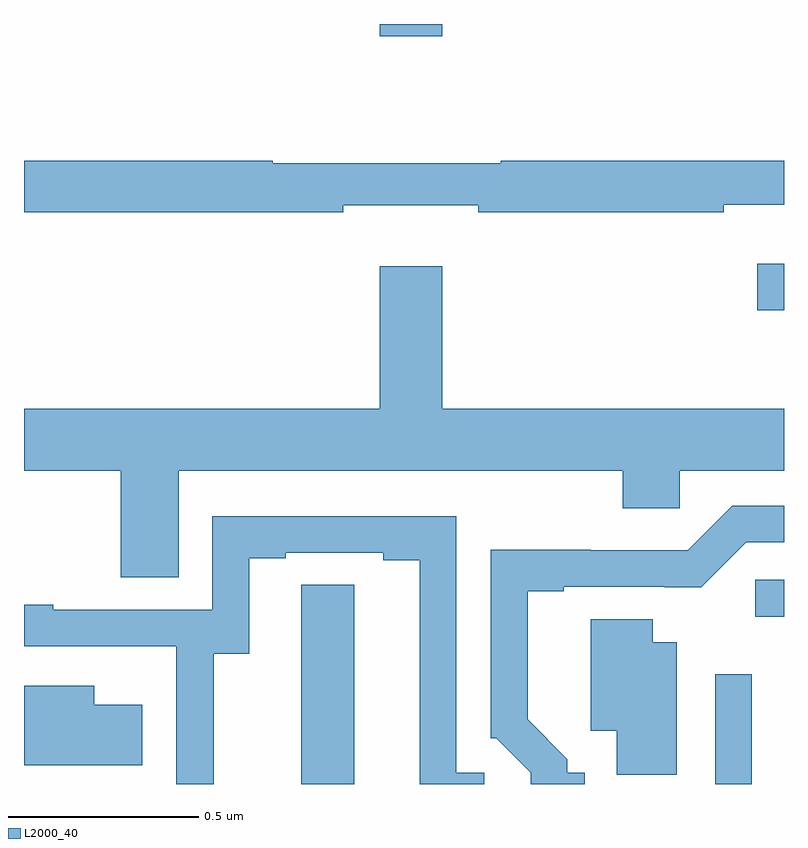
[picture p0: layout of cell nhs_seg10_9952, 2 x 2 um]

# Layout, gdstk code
import gdstk
lib = gdstk.Library(unit=1e-6, precision=1e-09)
def R(c, l, rs):  # rectangles x0, y0, x1, y1
    for r in rs: c.add(gdstk.rectangle(r[:2], r[2:], *l))
def P(c, l, *ps):  # polygons
    for p in ps: c.add(gdstk.Polygon(p, *l))
L2000_40 = (2000, 40)

nhs_seg10_9952 = lib.new_cell('nhs_seg10_9952')
R(nhs_seg10_9952, L2000_40, [(237.819,1291.5,237.915,1291.789), (237.924,1291.94,238,1292.037), (237.93,1292.747,238,1292.869), (236.936,1293.468,237.1,1293.5)])
P(nhs_seg10_9952, L2000_40, [(236.84,1293.023),(237.196,1293.023),(237.196,1293.004),(237.842,1293.004),(237.842,1293.024),(238,1293.024),(238,1293.14),(237.254,1293.14),(237.254,1293.133),(236.654,1293.133),(236.654,1293.14),(236,1293.14),(236,1293.004),(236.84,1293.004)],
  [(236.407,1292.324),(237.575,1292.324),(237.575,1292.226),(237.726,1292.226),(237.726,1292.324),(238,1292.324),(238,1292.488),(237.1,1292.488),(237.1,1292.863),(236.936,1292.863),(236.936,1292.488),(236,1292.488),(236,1292.324),(236.255,1292.324),(236.255,1292.044),(236.407,1292.044)],
  [(237.475,1291.53),(237.43,1291.53),(237.43,1291.565),(237.325,1291.67),(237.325,1292.007),(237.421,1292.007),(237.421,1292.019),(237.686,1292.019),(237.686,1292.018),(237.782,1292.018),(237.9,1292.136),(238,1292.136),(238,1292.232),(237.864,1292.232),(237.747,1292.115),(237.491,1292.115),(237.491,1292.117),(237.228,1292.117),(237.228,1291.62),(237.243,1291.62),(237.333,1291.53),(237.333,1291.5),(237.475,1291.5)],
  [(236.499,1291.843),(236.593,1291.843),(236.593,1292.094),(236.689,1292.094),(236.689,1292.109),(236.945,1292.109),(236.945,1292.089),(237.041,1292.089),(237.041,1291.5),(237.211,1291.5),(237.211,1291.53),(237.138,1291.53),(237.138,1292.205),(236.496,1292.205),(236.496,1291.959),(236.077,1291.959),(236.077,1291.972),(236,1291.972),(236,1291.863),(236.399,1291.863),(236.399,1291.862),(236.4,1291.862),(236.4,1291.5),(236.499,1291.5)],
  [(236.869,1292.024),(236.73,1292.024),(236.73,1291.916),(236.729,1291.916),(236.729,1291.5),(236.869,1291.5)],
  [(237.718,1291.873),(237.655,1291.873),(237.655,1291.934),(237.491,1291.934),(237.491,1291.64),(237.56,1291.64),(237.56,1291.525),(237.718,1291.525)],
  [(236.311,1291.708),(236.185,1291.708),(236.185,1291.759),(236,1291.759),(236,1291.55),(236.311,1291.55)])

lib.write_gds('nhs_seg10_9952.gds')
